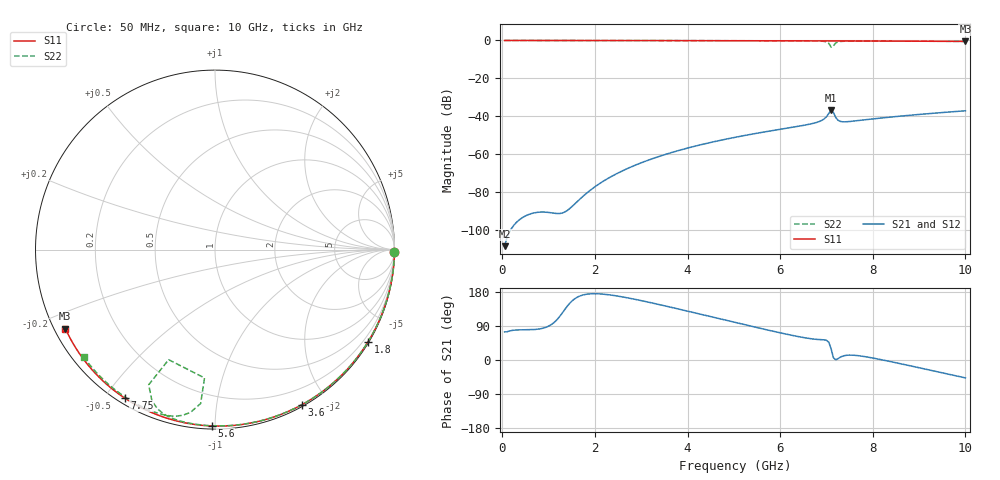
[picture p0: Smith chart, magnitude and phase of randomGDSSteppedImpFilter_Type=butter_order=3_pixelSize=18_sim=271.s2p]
! freq	dB(S11)	phase(S11)	dB(S12)	phase(S12)
!  dB(S21)	phase(S21)	dB(S22)	phase(S22)
!S-par simulation data
#  GHz  S  DB  R 50
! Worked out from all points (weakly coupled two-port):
!   200 points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, 50 MHz to 10 GHz, reference 50 ohm
!   highest |S21| = -36.86 dB at 7.1 GHz (marker M1); lowest = -108.8 dB at 50 MHz (marker M2)
!   lowest |S11| = -0.5 dB at 10 GHz (marker M3), VSWR 33.84, Z = 1.57 - j12.4 ohm
!   |S11| at or under -10 dB: nowhere
!   |S22| runs from -3.5 to 0.0 dB; largest |S21 - S12| = 0
!   S11 on the Smith chart (normalised r, x): 50 MHz: open; 1.8 GHz: 0.03, -3.59; 3.6 GHz: 0.02, -1.71; 5.6 GHz: 0.02, -0.98; 7.75 GHz: 0.02, -0.56; 10 GHz: 0.03, -0.25
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0.05  -0.00 -0.9  -108.82 74.2  -108.82 74.2  -0.00 -0.8
0.9  -0.02 -15.7  -90.78 84.6  -90.78 84.6  -0.02 -14.7
1.75  -0.04 -30.3  -82.27 171.8  -82.27 171.8  -0.04 -28.3
1.8  -0.04 -31.2  -81.22 173.1  -81.22 173.1  -0.04 -29.0
1.85  -0.04 -32.0  -80.20 174.0  -80.20 174.0  -0.04 -29.8
2.2  -0.05 -37.9  -74.17 173.5  -74.17 173.5  -0.04 -35.3
2.6  -0.06 -44.5  -68.90 166.4  -68.90 166.4  -0.05 -41.6
3.4  -0.08 -57.5  -61.23 146.0  -61.23 146.0  -0.07 -53.8
3.6  -0.08 -60.7  -59.69 140.4  -59.69 140.4  -0.08 -56.8
5.05  -0.13 -83.0  -51.12 98.5  -51.12 98.5  -0.12 -77.9
5.6  -0.15 -91.1  -48.64 82.8  -48.64 82.8  -0.14 -85.7
6.7  -0.21 -106.8  -43.93 55.6  -43.93 55.6  -0.24 -102.5
6.95  -0.22 -110.3  -41.48 53.2  -41.48 53.2  -0.50 -109.7
7.05  -0.23 -111.7  -38.60 46.9  -38.60 46.9  -1.53 -116.1
7.1  -0.23 -112.4  -36.86 29.8  -36.86 29.8  -3.54 -112.8
7.15  -0.24 -113.1  -38.11 6.2  -38.11 6.2  -2.89 -94.7
7.2  -0.24 -113.8  -40.73 0.4  -40.73 0.4  -1.30 -95.3
7.25  -0.24 -114.5  -42.22 3.7  -42.22 3.7  -0.75 -98.6
7.4  -0.25 -116.5  -43.04 11.8  -43.04 11.8  -0.38 -104.3
7.75  -0.28 -121.4  -42.18 10.4  -42.18 10.4  -0.30 -111.1
8.35  -0.33 -129.6  -40.61 -3.3  -40.61 -3.3  -0.33 -119.6
10  -0.51 -152.2  -37.21 -47.2  -37.21 -47.2  -0.49 -140.8
